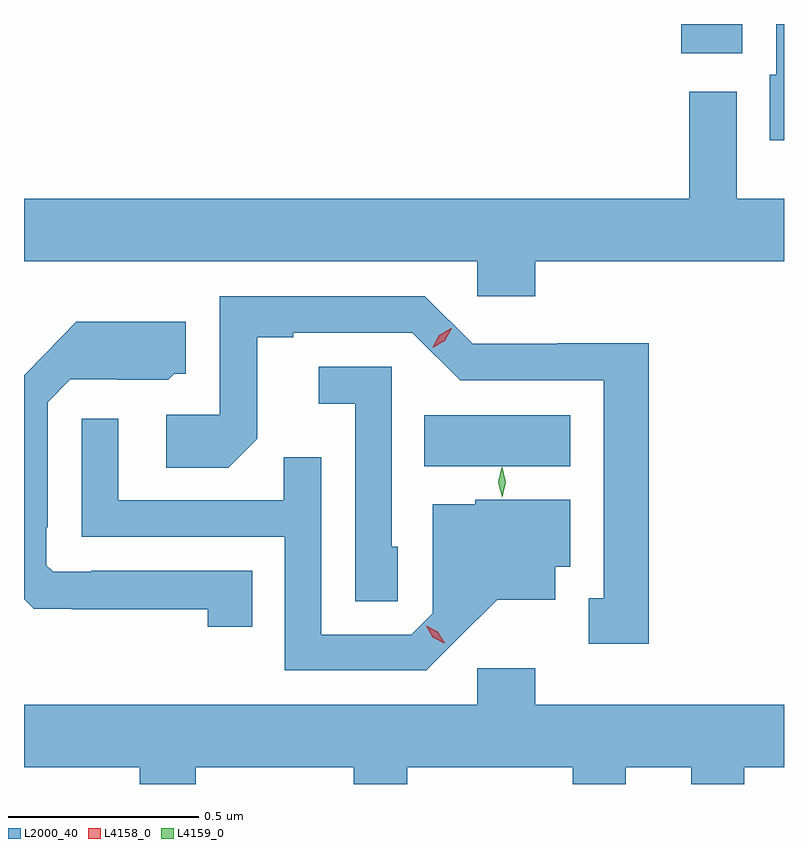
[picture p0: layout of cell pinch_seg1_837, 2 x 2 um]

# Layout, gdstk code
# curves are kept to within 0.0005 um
import gdstk
lib = gdstk.Library(unit=1e-6, precision=1e-09)
def R(c, l, rs):  # rectangles x0, y0, x1, y1
    for r in rs: c.add(gdstk.rectangle(r[:2], r[2:], *l))
def P(c, l, *ps):  # polygons
    for p in ps: c.add(gdstk.Polygon(p, *l))
L2000_40 = (2000, 40)
L4158_0 = (4158, 0)
L4159_0 = (4159, 0)

pinch_seg1_837 = lib.new_cell('pinch_seg1_837')
R(pinch_seg1_837, L2000_40, [(467.704,565.844,468.088,565.978), (468.38,566.931,468.541,567.008)])
P(pinch_seg1_837, L2000_40, [(468.651,567.008),(468.63,567.008),(468.63,566.874),(468.614,566.874),(468.614,566.702),(468.651,566.702)],
  [(467.996,566.384),(468.651,566.384),(468.651,566.548),(468.526,566.548),(468.526,566.83),(468.401,566.83),(468.401,566.548),(466.651,566.548),(466.651,566.384),(467.844,566.384),(467.844,566.291),(467.996,566.291)],
  [(468.295,566.168),(468.054,566.168),(468.054,566.166),(467.832,566.166),(467.706,566.292),(467.166,566.292),(467.166,565.98),(467.025,565.98),(467.025,565.84),(467.189,565.84),(467.265,565.916),(467.265,566.184),(467.359,566.184),(467.359,566.196),(467.673,566.196),(467.799,566.07),(468.176,566.07),(468.176,565.497),(468.137,565.497),(468.137,565.377),(468.295,565.377)],
  [(467.252,565.569),(466.828,565.569),(466.828,565.566),(466.728,565.566),(466.71,565.584),(466.71,565.684),(466.713,565.684),(466.713,566.013),(466.773,566.073),(466.896,566.073),(466.896,566.072),(467.03,566.072),(467.046,566.088),(467.077,566.088),(467.077,566.224),(466.789,566.224),(466.651,566.084),(466.651,565.494),(466.676,565.469),(466.777,565.469),(466.777,565.468),(467.134,565.468),(467.134,565.422),(467.252,565.422)],
  [(467.634,565.632),(467.619,565.632),(467.619,566.106),(467.427,566.106),(467.427,566.009),(467.523,566.009),(467.523,565.489),(467.634,565.489)],
  [(467.794,565.391),(467.897,565.493),(468.049,565.493),(468.049,565.58),(468.088,565.58),(468.088,565.756),(467.838,565.756),(467.838,565.744),(467.727,565.744),(467.727,565.458),(467.67,565.401),(467.433,565.401),(467.433,565.868),(467.335,565.868),(467.335,565.755),(466.899,565.755),(466.899,565.969),(466.803,565.969),(466.803,565.659),(467.337,565.659),(467.337,565.308),(467.71,565.308)],
  [(467.103,565.052),(467.519,565.052),(467.519,565.008),(467.659,565.008),(467.659,565.052),(468.095,565.052),(468.095,565.008),(468.235,565.008),(468.235,565.052),(468.407,565.052),(468.407,565.008),(468.547,565.008),(468.547,565.052),(468.651,565.052),(468.651,565.216),(467.996,565.216),(467.996,565.312),(467.844,565.312),(467.844,565.216),(466.651,565.216),(466.651,565.052),(466.956,565.052),(466.956,565.008),(467.103,565.008)])
P(pinch_seg1_837, L4158_0, [(467.726,566.156),(467.726,566.157),(467.744,566.189),(467.775,566.207),(467.776,566.207),(467.776,566.207),(467.758,566.175),(467.726,566.156)],
  [(467.757,565.378),(467.726,565.394),(467.709,565.424),(467.709,565.424),(467.709,565.424),(467.74,565.409),(467.758,565.379),(467.758,565.378)])
P(pinch_seg1_837, L4159_0, [(467.91,565.762),(467.91,565.762),(467.899,565.802),(467.908,565.841),(467.908,565.841),(467.909,565.841),(467.919,565.802),(467.91,565.762)])

lib.write_gds('pinch_seg1_837.gds')
